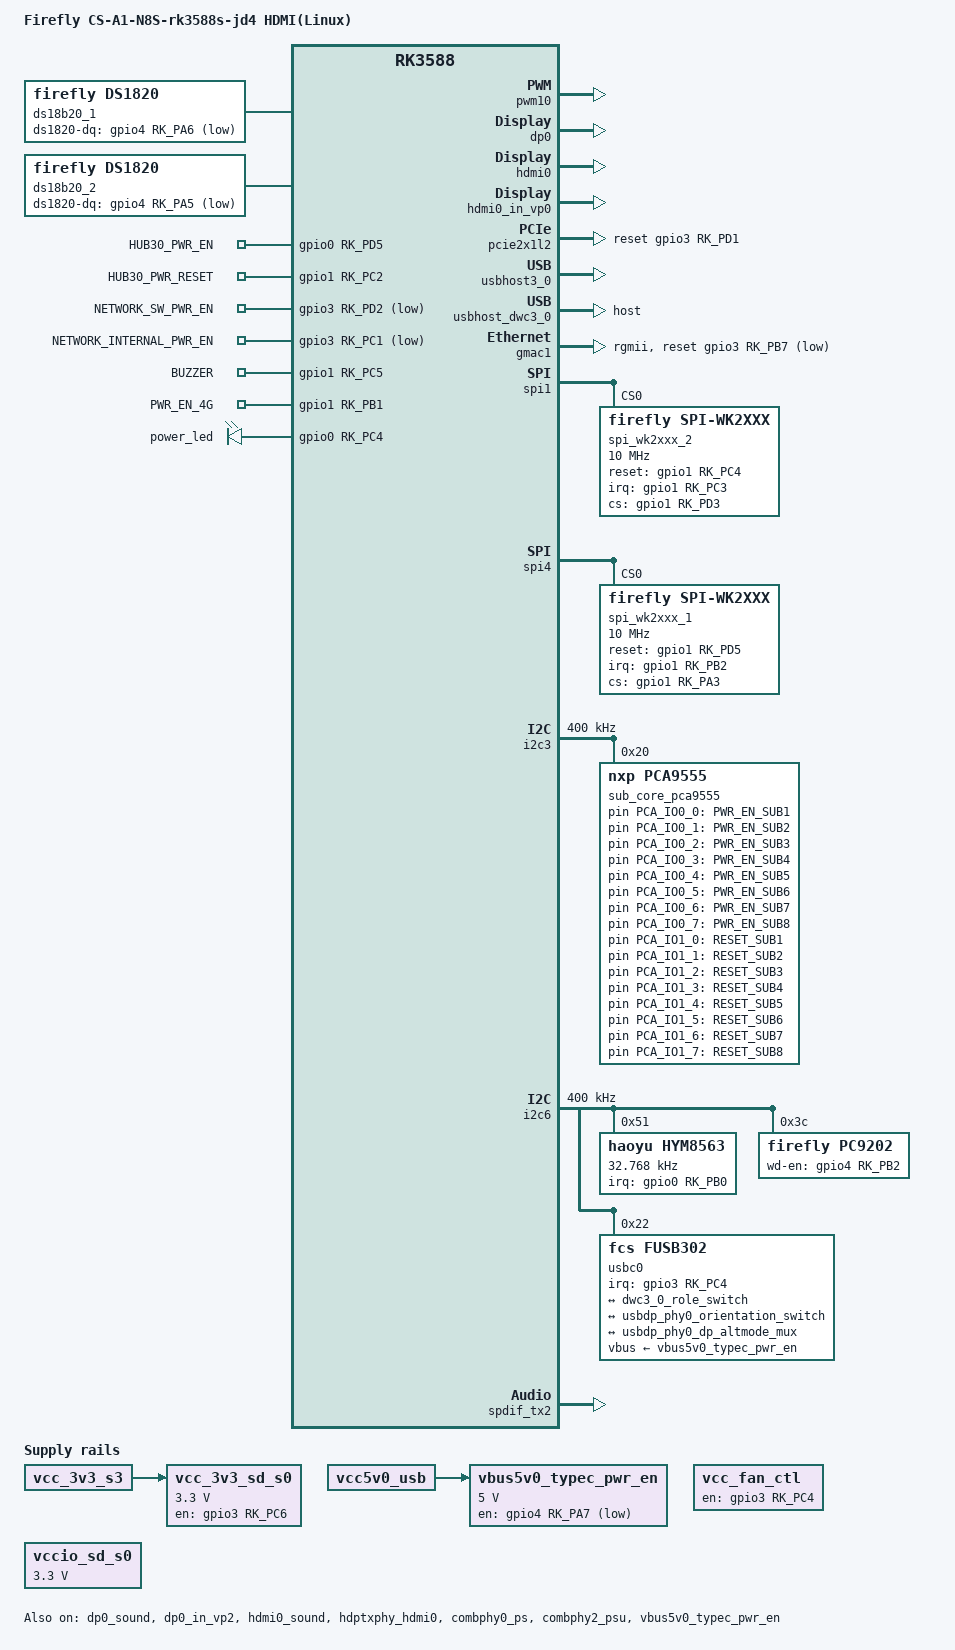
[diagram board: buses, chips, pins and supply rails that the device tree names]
// SPDX-License-Identifier: (GPL-2.0+ OR MIT)
/*
 * Copyright (c) 2021 Firefly Electronics Co., Ltd.
 *
 */

/dts-v1/;


#include "rk3588-firefly-port.dtsi"

/ {
	model = "Firefly CS-A1-N8S-rk3588s-jd4 HDMI(Linux)";
	compatible = "rockchip,aio-3588sjd4", "rockchip,rk3588";

	chosen: chosen {
		bootargs = "earlycon=uart8250,mmio32,0xfeb50000 console=ttyFIQ0 irqchip.gicv3_pseudo_nmi=0 root=PARTLABEL=rootfs rootfstype=ext4 ro rootwait overlayroot=device:dev=PARTLABEL=userdata,fstype=ext4,mkfs=1 coherent_pool=1m systemd.gpt_auto=0 cgroup_enable=memory swapaccount=1";
	};

	vcc_fan_ctl: vcc-fan-ctl-regulator {
			compatible = "regulator-fixed";
			regulator-name = "vcc_fan_ctl";
			regulator-always-on;
			enable-active-high;
			status = "okay";
			gpio = <&gpio3 RK_PC4 GPIO_ACTIVE_HIGH>;
	};

	vcc_3v3_sd_s0: vcc-3v3-sd-s0 {
		compatible = "regulator-fixed";
		regulator-name = "vcc_3v3_sd_s0";
		regulator-min-microvolt = <3300000>;
		regulator-max-microvolt = <3300000>;
		gpios = <&gpio3 RK_PC6 GPIO_ACTIVE_HIGH>;
		enable-active-high;
		vin-supply = <&vcc_3v3_s3>;
			regulator-state-mem {
			regulator-off-in-suspend;
		};
	};

	firefly_wake {
		compatible = "firefly-wake";
		status = "okay";
	};

	ds18b20_1 {
		compatible = "firefly,ds1820";
		status = "okay";
		ds1820-dq = <&gpio4 RK_PA6 GPIO_ACTIVE_LOW>; //GPIO4_A6 TEMP_DET_1
		ds18b20-id = <1>;
		pinctrl-names = "default";
		pinctrl-0 = <&ds18b20_dp_1_pin>;
	};

	ds18b20_2 {
		compatible = "firefly,ds1820";
		ds1820-dq = <&gpio4 RK_PA5 GPIO_ACTIVE_LOW>; //GPIO4_A5 TEMP_DET_2
		ds18b20-id = <2>;
		status = "okay";
		pinctrl-names = "default";
		pinctrl-0 = <&ds18b20_dp_2_pin>;
	};


	leds {
		compatible = "gpio-leds";
		status = "okay";
		/delete-node/ user;

		HUB30_PWR_EN {
			//BMC LED
			label = "HUB30_PWR_EN";
			gpios = <&gpio0 RK_PD5 GPIO_ACTIVE_HIGH>;	//GPIO0_D5
			default-state = "on";
			retain-state-shutdown;
		};

		HUB30_PWR_RESET {
			label = "HUB30_PWR_RESET";
			gpios = <&gpio1 RK_PC2 GPIO_ACTIVE_HIGH>;   //GPIO1_C2
			default-state = "off";
			retain-state-shutdown;
		};

		NETWORK_SW_PWR_EN {
			label = "NETWORK_SW_PWR_EN";
			gpios = <&gpio3 RK_PD2 GPIO_ACTIVE_LOW>;   //GPIO3_D2
			default-state = "on";
			retain-state-shutdown;
		};

		NETWORK_INTERNAL_PWR_EN {
			label = "NETWORK_INTERNAL_PWR_EN";
			gpios = <&gpio3 RK_PC1 GPIO_ACTIVE_LOW>;   // GPIO3_C1
			default-state = "on";
		};

		// SW_9310_RESET_H {
		// 	label = "SW_9310_RESET_H";
		// 	gpios = <&gpio0 RK_PC0 GPIO_ACTIVE_HIGH>;   //GPIO0_C0
		// 	default-state = "off";
		// };


		//子板的reset脚，写0会reset子板
		PWR_EN_SUB1 {
			label = "PWR_EN_SUB1";
			gpios = <&sub_core_pca9555 PCA_IO0_0 GPIO_ACTIVE_HIGH>;	///GPIO4_B3
			default-state = "on";
			retain-state-shutdown;
		};

		PWR_EN_SUB2 {
			label = "PWR_EN_SUB2";
			gpios = <&sub_core_pca9555 PCA_IO0_1 GPIO_ACTIVE_HIGH>;	//GPIO4_B2
			default-state = "on";
			retain-state-shutdown;
		};

		PWR_EN_SUB3 {
			label = "PWR_EN_SUB3";
			gpios = <&sub_core_pca9555 PCA_IO0_2 GPIO_ACTIVE_HIGH>;	//GPIO4_D1
			default-state = "on";
			retain-state-shutdown;
		};

		PWR_EN_SUB4 {
			label = "PWR_EN_SUB4";
			gpios = <&sub_core_pca9555 PCA_IO0_3 GPIO_ACTIVE_HIGH>;	//GPIO4_D3
			default-state = "on";
			retain-state-shutdown;
		};

		PWR_EN_SUB5 {
			label = "PWR_EN_SUB5";
			gpios = <&sub_core_pca9555 PCA_IO0_4 GPIO_ACTIVE_HIGH>;	//GPIO4_D4
			default-state = "on";
			retain-state-shutdown;
		};

		PWR_EN_SUB6 {
			label = "PWR_EN_SUB6";
			gpios = <&sub_core_pca9555 PCA_IO0_5 GPIO_ACTIVE_HIGH>;	//GPIO4_D2
			default-state = "on";
			retain-state-shutdown;
		};

		PWR_EN_SUB7 {
			label = "PWR_EN_SUB7";
			gpios = <&sub_core_pca9555 PCA_IO0_6 GPIO_ACTIVE_HIGH>;	//GPIO4_B4
			default-state = "on";
			retain-state-shutdown;
		};

		PWR_EN_SUB8 {
			label = "PWR_EN_SUB8";
			gpios = <&sub_core_pca9555 PCA_IO0_7 GPIO_ACTIVE_HIGH>;	//GPIO4_D0
			default-state = "on";
			retain-state-shutdown;
		};

		////////////////////////RESET////////////////////////////

		RESET_SUB1 {
			label = "RESET_SUB1";
			gpios = <&sub_core_pca9555 PCA_IO1_0 GPIO_ACTIVE_HIGH>;	//GPIO1_C2
			default-state = "off";
			retain-state-shutdown;
		};

		RESET_SUB2 {
			label = "RESET_SUB2";
			gpios = <&sub_core_pca9555 PCA_IO1_1 GPIO_ACTIVE_HIGH>;	//GPIO1_C5
			default-state = "off";
			retain-state-shutdown;
		};

		RESET_SUB3 {
			label = "RESET_SUB3";
			gpios = <&sub_core_pca9555 PCA_IO1_2 GPIO_ACTIVE_HIGH>;	//GPIO1_C7
			default-state = "off";
			retain-state-shutdown;
		};

		RESET_SUB4 {
			label = "RESET_SUB4";
			gpios = <&sub_core_pca9555 PCA_IO1_3 GPIO_ACTIVE_HIGH>;	//GPIO1_D4
			default-state = "off";
			retain-state-shutdown;
		};

		RESET_SUB5 {
			label = "RESET_SUB5";
			gpios = <&sub_core_pca9555 PCA_IO1_4 GPIO_ACTIVE_HIGH>;	//GPIO1_C3
			default-state = "off";
			retain-state-shutdown;
		};

		RESET_SUB6 {
			label = "RESET_SUB6";
			gpios = <&sub_core_pca9555 PCA_IO1_5 GPIO_ACTIVE_HIGH>;	//GPIO1_D2
			default-state = "off";
			retain-state-shutdown;
		};

		RESET_SUB7 {
			label = "RESET_SUB7";
			gpios = <&sub_core_pca9555 PCA_IO1_6 GPIO_ACTIVE_HIGH>;	///GPIO1_D5
			default-state = "off";
			retain-state-shutdown;
		};

		RESET_SUB8 {
			label = "RESET_SUB8";
			gpios = <&sub_core_pca9555 PCA_IO1_7 GPIO_ACTIVE_HIGH>;	//GPIO1_C4
			default-state = "off";
			retain-state-shutdown;
		};

		BUZZER {
			//BMC LED
			label = "BUZZER";
			gpios = <&gpio1 RK_PC5 GPIO_ACTIVE_HIGH>;	//GPIO1_C5
			default-state = "off";
			pinctrl-names = "default";
			pinctrl-0 = <&buzzer_ctl>;
		};

		PWR_EN_4G {
			//BMC LED
			label = "PWR_EN_4G";
			gpios = <&gpio1 RK_PB1 GPIO_ACTIVE_HIGH>;	//GPIO1_B1
			default-state = "on";
		};
	};
};

// FAN_PWM
&pwm10 {
	pinctrl-0 = <&pwm10m2_pins>;
	status = "okay";
};

&i2c2 {
	status = "okay";
 };

&power_led {
	gpios = <&gpio0 RK_PC4 GPIO_ACTIVE_HIGH>;
};

&i2s0_8ch{
	status = "disabled";
};

/* display port0 */
&dp0_sound{
		status = "okay";
};

&dp0 {
	status = "okay";
};

&dp0_in_vp2 {
	status = "okay";
};

/* hdmi0 */
&hdmi0 {
	enable-gpios = <&gpio4 RK_PB6 GPIO_ACTIVE_HIGH>;
	status = "okay";
};

&hdmi0_in_vp0 {
	status = "okay";
};

&hdmi0_sound {
		status = "okay";
};

&hdptxphy_hdmi0 {
	status = "okay";
};

//no show LOGO
&route_hdmi0{
	status = "disabled";
};

/* pcie2.0 */
&combphy0_ps {
	status = "okay";
};

&pcie2x1l1 {
	//reset-gpios = <&gpio4 RK_PA2 GPIO_ACTIVE_HIGH>;
	rockchip,skip-scan-in-resume;
	status = "disabled";
};

&sata2 {
	status = "disabled";
};



//pci
&pcie2x1l2 {
	//reset-gpios = <&gpio4 RK_PA2 GPIO_ACTIVE_HIGH>;
	reset-gpios = <&gpio3 RK_PD1 GPIO_ACTIVE_HIGH>;
	//prsnt-gpios = <&gpio4 RK_PA2 GPIO_ACTIVE_HIGH>;
	rockchip,skip-scan-in-resume;
	status = "okay";
};

/* usb3.0 */
&combphy2_psu {
	status = "okay";
};

&usbhost3_0 {
	status = "okay";
};

&usbhost_dwc3_0 {
	status = "okay";
	dr_mode = "host";
};


&vcc5v0_host {
	status = "okay";
 	// /delete-property/ regulator-boot-on;
	gpio = <&gpio4 RK_PB5 GPIO_ACTIVE_HIGH>;		//GPIO4_B5_d
	// /delete-property/ pinctrl-names;
	// /delete-property/ pinctrl-0;
};

// /* usb2.0 hub */
// &vcc_hub_reset {
// 	status = "okay";
// 	regulator-name = "vcc_hub2_reset";
// 	gpio = <&pca9555 PCA_IO0_7 GPIO_ACTIVE_HIGH>;
// };


/* typec0 */
&vbus5v0_typec_pwr_en {
	status = "okay";
	regulator-min-microvolt = <5000000>;
	regulator-max-microvolt = <5000000>;
	gpios = <&gpio4 RK_PA7 GPIO_ACTIVE_HIGH>;   ///GPIO4_A7

	vin-supply = <&vcc5v0_usb>;
	pinctrl-names = "default";
	pinctrl-0 = <&vbus5v0_typec_pwr_en_gpio>;
};

&gmac1{
 	snps,reset-gpio = <&gpio3 RK_PB7 GPIO_ACTIVE_LOW>;
	phy-mode = "rgmii";
	tx_delay = <0x45>;
	rx_delay = <0x34>;
	status = "okay";
};

&spi1 {
	status = "okay";
	max-freq = <48000000>;
	dev-port = <0>;
	pinctrl-0 = <&spi1m2_pins>;
	num-cs = <1>;

	spi_wk2xxx_2: spi_wk2xxx_2@0{
		status = "okay";
		compatible = "firefly,spi-wk2xxx";
		reg = <0x00>;
		index_base = <5>;
		spi-max-frequency = <10000000>;
		//power-gpio = <&gpio2 4 GPIO_ACTIVE_HIGH>;

		reset-gpio = <&gpio1 RK_PC4 GPIO_ACTIVE_HIGH>;		//WK2124_RST_2	GPIO1_C4
		irq-gpio = <&gpio1 RK_PC3 IRQ_TYPE_EDGE_FALLING>;	//WK2124_INT_2	GPIO1_C3
		cs-gpio = <&gpio1 RK_PD3 GPIO_ACTIVE_HIGH>;			//SPI1_CS0_M2	GPIO1_D3

		pinctrl-0 = <&wk2xxx_2_irq_gpios>;
		pinctrl-names = "default";
	};
};

/* PMIC spi2 */
&spi2 {
	pinctrl-names = "default";
	pinctrl-0 = <&spi2m2_cs0 &spi2m2_pins>;
	num-cs = <1>;
};

&spi4 {
	status = "okay";
	max-freq = <48000000>;
	dev-port = <0>;
	pinctrl-0 = <&spi4m2_pins>;
	num-cs = <1>;

	spi_wk2xxx_1: wk2xxx_spi@0{
		status = "okay";
		compatible = "firefly,spi-wk2xxx";
		reg = <0x00>;
		index_base = <1>;
		spi-max-frequency = <10000000>;
		reset-gpio = <&gpio1 RK_PD5 GPIO_ACTIVE_HIGH>;		//WK2124_RST_1	GPIO1_D5
		irq-gpio = <&gpio1 RK_PB2 IRQ_TYPE_EDGE_FALLING>;	//WK2124_INT_1	GPIO1_B2
		cs-gpio = <&gpio1 RK_PA3 GPIO_ACTIVE_HIGH>;			//SPI4_CS0_M2	GPIO1_A3

		//pinctrl-0 = <&reset_gpios>,<&irq_gpios>,<&cs_gpios>;
		//pinctrl-names = "default";
		pinctrl-0 = <&wk2xxx_1_irq_gpios>;
		pinctrl-names = "default";
	};
};

&sdmmc {
	status = "disabled";
	vmmc-supply = <&vcc_3v3_sd_s0>;
};

&i2c2 {
	status = "disabled";
	pinctrl-names = "default";
	pinctrl-0 = <&i2c2m0_xfer>;
};

&i2c4 {
	status = "disabled";
	pinctrl-names = "default";
	pinctrl-0 = <&i2c4m3_xfer>;
};


&i2c3 {
	status = "okay";
	clock-frequency = <400000>;
	pinctrl-names = "default";
	pinctrl-0 = <&i2c3m4_xfer>;

	sub_core_pca9555: gpio@20 {
		status = "okay";
		compatible = "nxp,pca9555";
		reg = <0x20>;
		gpio-controller;
		#gpio-cells = <2>;
		gpio-group-num = <250>;
    };
};


&vccio_sd_s0 {
    regulator-min-microvolt = <3300000>;
    regulator-max-microvolt = <3300000>;
    //regulator-name = "vccio_sd_s0";
	regulator-name = "vccio_sub_core_pca9555_s0";
};


// &i2c5 {
// 	status = "okay";
// 	pinctrl-names = "default";
// 	pinctrl-0 = <&i2c5m1_xfer>;
// };

&i2c6 {
	status = "okay";
	clock-frequency = <400000>;
   	pinctrl-names = "default";
	pinctrl-0 = <&i2c6m3_xfer>;

	hym8563: hym8563@51 {
		compatible = "haoyu,hym8563";
		reg = <0x51>;
		#clock-cells = <0>;
		clock-frequency = <32768>;
		clock-output-names = "hym8563";
		pinctrl-names = "default";
		pinctrl-0 = <&hym8563_int>;
		interrupt-parent = <&gpio0>;
		interrupts = <RK_PB0 IRQ_TYPE_LEVEL_LOW>;
		wakeup-source;
		status = "okay";
	};

	pc9202: pc9202@3c {
		status = "okay";
		compatible = "firefly,pc9202";
		reg = <0x3c>;
		wd-en-gpio = <&gpio4 RK_PB2 GPIO_ACTIVE_HIGH>;         //GPIO4_B2
		pinctrl-names = "default";
		pinctrl-0 = <&wdt_ctl>;
	};


	pca9555: gpio@21 {
               status = "disabled";
               compatible = "nxp,pca9555";
               reg = <0x21>;
               gpio-controller;
               #gpio-cells = <2>;
               gpio-group-num = <200>;
       };


	usbc0: fusb302@22 {
		compatible = "fcs,fusb302";
		reg = <0x22>;
		interrupt-parent = <&gpio3>;
		interrupts = <RK_PC4 IRQ_TYPE_LEVEL_LOW>;
		pinctrl-names = "default";
		pinctrl-0 = <&usbc0_int>;
		vbus-supply = <&vbus5v0_typec_pwr_en>;
		status = "okay";

		ports {
			#address-cells = <1>;
			#size-cells = <0>;

			port@0 {
				reg = <0>;
				usbc0_role_sw: endpoint@0 {
					remote-endpoint = <&dwc3_0_role_switch>;
				};
			};
		};

		usb_con: connector {
			compatible = "usb-c-connector";
			label = "USB-C";
			data-role = "dual";
			power-role = "dual";
			try-power-role = "sink";
			op-sink-microwatt = <1000000>;
			sink-pdos =
				<PDO_FIXED(5000, 1000, PDO_FIXED_USB_COMM)>;
			source-pdos =
				<PDO_FIXED(5000, 3000, PDO_FIXED_USB_COMM)>;

			altmodes {
				#address-cells = <1>;
				#size-cells = <0>;

				altmode@0 {
					reg = <0>;
					svid = <0xff01>;
					vdo = <0xffffffff>;
				};
			};

			ports {
				#address-cells = <1>;
				#size-cells = <0>;

				port@0 {
					reg = <0>;
					usbc0_orien_sw: endpoint {
						remote-endpoint = <&usbdp_phy0_orientation_switch>;
					};
				};

				port@1 {
					reg = <1>;
					dp_altmode_mux: endpoint {
						remote-endpoint = <&usbdp_phy0_dp_altmode_mux>;
					};
				};
			};
		};
	};

};

// &usbdrd_dwc3_0 {
// 	dr_mode = "host";
// };

&usbdp_phy0 {
	sbu1-dc-gpios = <&gpio4 RK_PA3 GPIO_ACTIVE_HIGH>;
	sbu2-dc-gpios = <&gpio4 RK_PD5 GPIO_ACTIVE_HIGH>;
};

//for dp
&spdif_tx2 {
	status = "okay";
};

// &can2 {
//     status = "okay";
//     pinctrl-names = "default";
//     pinctrl-0 = <&can2m1_pins>;
// };

// &uart0 {
//     status = "okay";
//     pinctrl-names = "default";
//     pinctrl-0 = <&uart0m2_xfer>;
// };

// &uart3 {
//     status = "okay";
//     pinctrl-names = "default";
//     pinctrl-0 = <&uart3m2_xfer>;
// };

&pinctrl {

	buzzer_pin {
		buzzer_ctl: buzzer-ctl {
				rockchip,pins =
				<1 RK_PC5 RK_FUNC_GPIO &pcfg_pull_none>;            //GPIO1_C5
		};
	};

	watchdog {
		wdt_ctl: wdt-ctl {
				rockchip,pins =
				<4 RK_PA4 RK_FUNC_GPIO &pcfg_pull_none>;            //GPIO3_D0
		};
	};

	vbus5v0-typec {
		vbus5v0_typec_pwr_en_gpio: vbus5v0-typec-pwr-en-gpio {
			rockchip,pins = <4 RK_PA7 RK_FUNC_GPIO &pcfg_pull_none>;
		};
	};

	network-reset {
		SW_9310_RESET_H_PIN: SW-9310-RESET-H-PIN {
			rockchip,pins = <0 RK_PC0 RK_FUNC_GPIO &pcfg_pull_none>;  //GPIO0_C0
		};
	};

	ds18b20-dp-1 {
		ds18b20_dp_1_pin: ds18b20-dp-1-pin {
			rockchip,pins = <4 RK_PA6 RK_FUNC_GPIO &pcfg_pull_none>;  //GPIO4_A6
		};
	};

	ds18b20-dp-2 {
		ds18b20_dp_2_pin: ds18b20-dp-2-pin {
			rockchip,pins = <4 RK_PA5 RK_FUNC_GPIO &pcfg_pull_none>;  //GPIO4_A5
		};
	};

	leds {
		leds_gpio: leds-gpio {
			rockchip,pins =
						/* led_user */
						//<1 RK_PD5 RK_FUNC_GPIO &pcfg_pull_none>,
						/* led_power */
						<1 RK_PD2 RK_FUNC_GPIO &pcfg_pull_none>;
		};
	};

	headphone {
		hp_det: hp-det {
			rockchip,pins = <1 RK_PC0 RK_FUNC_GPIO &pcfg_pull_none>;
		};
	};

	hym8563 {
		hym8563_int: hym8563-int {
			rockchip,pins = <0 RK_PB0 RK_FUNC_GPIO &pcfg_pull_up>;
		};
	};

	usb-typec {
		usbc0_int: usbc0-int {
			rockchip,pins = <3 RK_PC4 RK_FUNC_GPIO &pcfg_pull_up>;
		};

	};

        wireless-bluetooth {
                uart9_gpios: uart9-gpios {
                        rockchip,pins = <3 RK_PD2 RK_FUNC_GPIO &pcfg_pull_none>;
                };

                bt_reset_gpio: bt-reset-gpio {
                        rockchip,pins = <0 RK_PD0 RK_FUNC_GPIO &pcfg_pull_none>;
                };

                bt_wake_gpio: bt-wake-gpio {
                        rockchip,pins = <0 RK_PC6 RK_FUNC_GPIO &pcfg_pull_none>;
                };

                bt_irq_gpio: bt-irq-gpio {
                        rockchip,pins = <0 RK_PC5 RK_FUNC_GPIO &pcfg_pull_down>;
                };
        };

        wireless-wlan {
                wifi_host_wake_irq: wifi-host-wake-irq {
                        rockchip,pins = <0 RK_PA0 RK_FUNC_GPIO &pcfg_pull_down>;
                };

                wifi_poweren_gpio: wifi-poweren-gpio {
                        rockchip,pins = <0 RK_PC7 RK_FUNC_GPIO &pcfg_pull_up>;
                };
        };

	wk2xxx-irq-gpios {
		wk2xxx_1_irq_gpios: wk2xxx-1-irq-gpios{
			rockchip,pins = <1 RK_PB2 RK_FUNC_GPIO &pcfg_pull_none>;
		};

		wk2xxx_2_irq_gpios: wk2xxx-2-irq-gpios{
			rockchip,pins = <1 RK_PC3 RK_FUNC_GPIO &pcfg_pull_none>;
		};
	};
};
